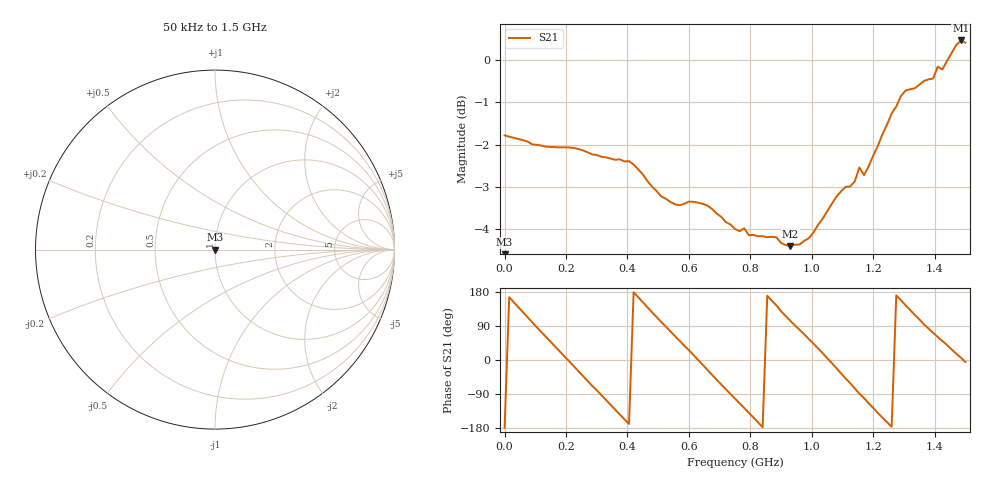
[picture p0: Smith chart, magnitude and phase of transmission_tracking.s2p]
! Created with skrf 1.8.0 (http://scikit-rf.org).
# Hz S RI R 50.0
!freq ReS11 ImS11 ReS21 ImS21 ReS12 ImS12 ReS22 ImS22
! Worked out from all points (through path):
!   101 points, 50 kHz to 1.5 GHz, reference 50 ohm
!   highest |S21| = 0.46 dB at 1.485 GHz (marker M1); lowest = -4.4 dB at 930 MHz (marker M2)
!   lowest |S11| = - dB at 50 kHz (marker M3), VSWR 1.00, Z = 50 + j0 ohm
!   |S11| at or under -10 dB: start of sweep to end of sweep
!   S12 and S22 are empty: the file has one direction only
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50000  0 0  -0.8145 -0.0154  0 0  0 0
6.0048e7  0 0  -0.4705 0.652  0 0  0 0
1.050465e8  0 0  0.0524 0.7922  0 0  0 0
1.80044e8  0 0  0.7294 0.2993  0 0  0 0
2.550415e8  0 0  0.5799 -0.5247  0 0  0 0
3.30039e8  0 0  -0.2038 -0.7396  0 0  0 0
4.050365e8  0 0  -0.7449 -0.1474  0 0  0 0
5.10033e8  0 0  -0.1232 0.6787  0 0  0 0
6.30029e8  0 0  0.6782 0.0023  0 0  0 0
6.90027e8  0 0  0.4066 -0.5182  0 0  0 0
7.50025e8  0 0  -0.1307 -0.6178  0 0  0 0
8.40022e8  0 0  -0.6186 -0.0277  0 0  0 0
9.30019e8  0 0  -0.1422 0.5856  0 0  0 0
1.005016e9  0 0  0.4529 0.4307  0 0  0 0
1.080014e9  0 0  0.6419 -0.2513  0 0  0 0
1.155012e9  0 0  0.014 -0.7464  0 0  0 0
1.260008e9  0 0  -0.8627 -0.0578  0 0  0 0
1.305006e9  0 0  -0.751 0.5315  0 0  0 0
1.365004e9  0 0  -0.0657 0.942  0 0  0 0
1.410003e9  0 0  0.4825 0.8553  0 0  0 0
1.485e9  0 0  1.048 0.1155  0 0  0 0
1.5e9  0 0  1.044 -0.0934  0 0  0 0
